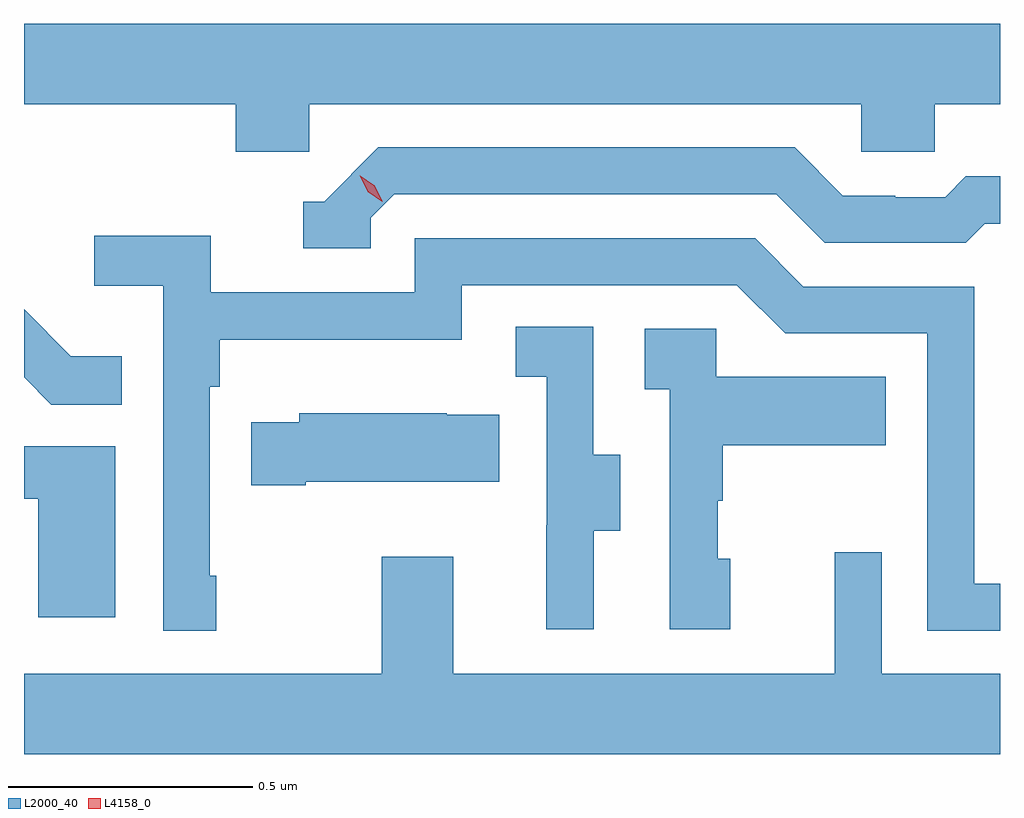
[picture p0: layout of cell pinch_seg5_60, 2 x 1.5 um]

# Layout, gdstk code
import gdstk
lib = gdstk.Library(unit=1e-6, precision=1e-09)
def P(c, l, *ps):  # polygons
    for p in ps: c.add(gdstk.Polygon(p, *l))
L2000_40 = (2000, 40)
L4158_0 = (4158, 0)

pinch_seg5_60 = lib.new_cell('pinch_seg5_60')
P(pinch_seg5_60, L2000_40, [(1065.666,911.372),(1066.797,911.372),(1066.797,911.274),(1066.947,911.274),(1066.947,911.372),(1067.081,911.372),(1067.081,911.536),(1065.081,911.536),(1065.081,911.372),(1065.515,911.372),(1065.515,911.274),(1065.666,911.274)],
  [(1065.792,911.139),(1065.84,911.187),(1066.623,911.187),(1066.722,911.088),(1067.011,911.088),(1067.05,911.127),(1067.081,911.127),(1067.081,911.224),(1067.011,911.224),(1066.969,911.181),(1066.866,911.181),(1066.866,911.184),(1066.759,911.184),(1066.66,911.283),(1065.807,911.283),(1065.696,911.172),(1065.653,911.172),(1065.653,911.076),(1065.792,911.076)],
  [(1065.475,910.405),(1065.462,910.405),(1065.462,910.793),(1065.482,910.793),(1065.482,910.889),(1065.978,910.889),(1065.978,911.001),(1066.542,911.001),(1066.641,910.902),(1066.932,910.902),(1066.932,910.293),(1067.081,910.293),(1067.081,910.389),(1067.028,910.389),(1067.028,910.998),(1066.678,910.998),(1066.579,911.097),(1065.882,911.097),(1065.882,910.986),(1065.464,910.986),(1065.464,911.102),(1065.225,911.102),(1065.225,911),(1065.366,911),(1065.366,910.293),(1065.475,910.293)],
  [(1065.281,910.855),(1065.177,910.855),(1065.081,910.951),(1065.081,910.812),(1065.137,910.756),(1065.281,910.756)],
  [(1066.249,910.498),(1066.303,910.498),(1066.303,910.653),(1066.248,910.653),(1066.248,910.916),(1066.089,910.916),(1066.089,910.813),(1066.152,910.813),(1066.152,910.509),(1066.151,910.509),(1066.151,910.296),(1066.249,910.296)],
  [(1066.528,910.44),(1066.503,910.44),(1066.503,910.559),(1066.513,910.559),(1066.513,910.673),(1066.847,910.673),(1066.847,910.813),(1066.5,910.813),(1066.5,910.911),(1066.353,910.911),(1066.353,910.787),(1066.404,910.787),(1066.404,910.296),(1066.528,910.296)],
  [(1065.658,910.598),(1066.055,910.598),(1066.055,910.735),(1065.947,910.735),(1065.947,910.738),(1065.645,910.738),(1065.645,910.72),(1065.547,910.72),(1065.547,910.591),(1065.658,910.591)],
  [(1065.268,910.671),(1065.081,910.671),(1065.081,910.563),(1065.11,910.563),(1065.11,910.32),(1065.268,910.32)],
  [(1067.081,910.204),(1066.839,910.204),(1066.839,910.453),(1066.742,910.453),(1066.742,910.204),(1065.961,910.204),(1065.961,910.444),(1065.814,910.444),(1065.814,910.204),(1065.081,910.204),(1065.081,910.04),(1067.081,910.04)])
P(pinch_seg5_60, L4158_0, [(1065.815,911.172),(1065.785,911.192),(1065.769,911.225),(1065.769,911.225),(1065.77,911.225),(1065.8,911.205),(1065.815,911.173),(1065.815,911.172)])

lib.write_gds('pinch_seg5_60.gds')
